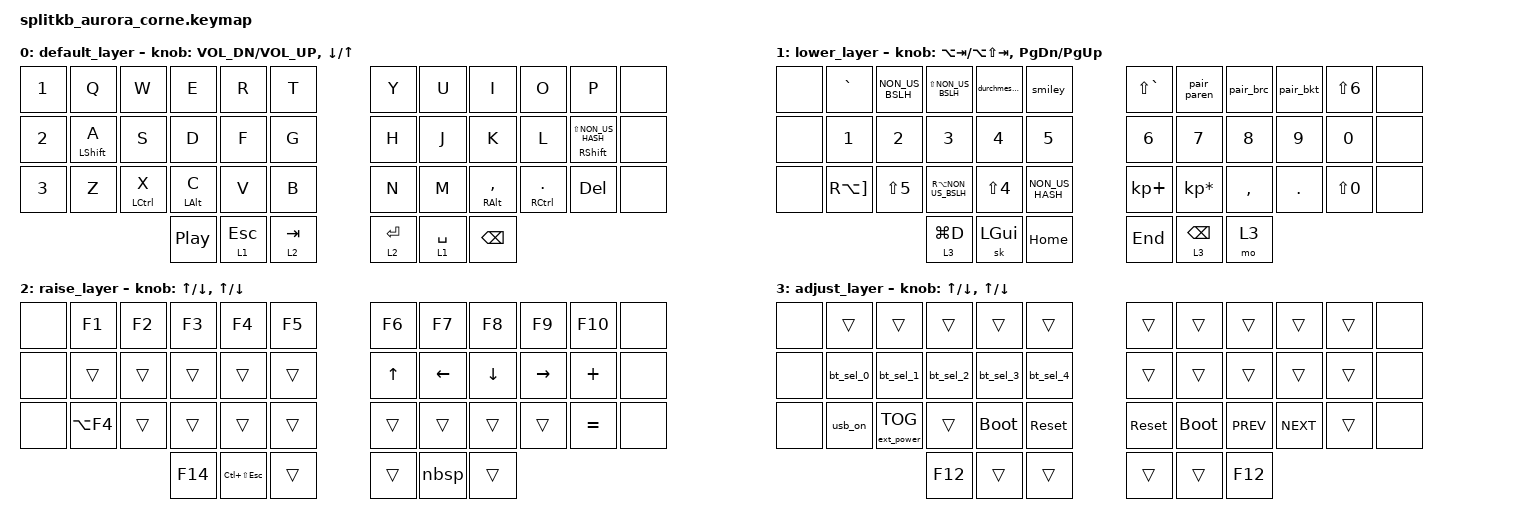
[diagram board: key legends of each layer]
#include <behaviors.dtsi>
#include <dt-bindings/zmk/keys.h>
#include <dt-bindings/zmk/bt.h>
#include <dt-bindings/zmk/ext_power.h>
#include <dt-bindings/zmk/outputs.h>

/*
 * Matrix Key Position References for Combos (42 keys Corne layout):
 *
 * Left Hand:                      Right Hand:
 *  0  1  2  3  4  5                6  7  8  9 10 11
 * 12 13 14 15 16 17               18 19 20 21 22 23
 * 24 25 26 27 28 29               30 31 32 33 34 35
 *          36 37 38               39 40 41
 */

#define LEFT_HAND_KEYS  1  2  3  4  5 13 14 15 16 17 25 26 27 28 29 36 37 38
#define RIGHT_HAND_KEYS 6  7  8  9 10 18 19 20 21 22 30 31 32 33 34 39 40 41

/ {
    macros {
        pair_paren: pair_paren {
            compatible = "zmk,behavior-macro";
            #binding-cells = <0>;
            wait-ms = <10>;
            tap-ms = <10>;
            bindings = <&kp LS(N8)>, <&kp LS(N9)>, <&kp LEFT>;
        };

        pair_brc: pair_brc {
            compatible = "zmk,behavior-macro";
            #binding-cells = <0>;
            wait-ms = <10>;
            tap-ms = <10>;
            bindings = <&kp RA(N7)>, <&kp RA(N0)>, <&kp LEFT>;
        };

        pair_bkt: pair_bkt {
            compatible = "zmk,behavior-macro";
            #binding-cells = <0>;
            wait-ms = <10>;
            tap-ms = <10>;
            bindings = <&kp RA(N8)>, <&kp RA(N9)>, <&kp LEFT>;
        };

        usb_on: usb_on { 
            compatible = "zmk,behavior-macro"; 
            #binding-cells = <0>; 
            bindings = <&out OUT_USB>; 
        };

        bt_sel_0: bt_sel_0 {
            compatible = "zmk,behavior-macro";
            #binding-cells = <0>;
            bindings = <&out OUT_BLE>, <&bt BT_SEL 0>;
        };

        bt_sel_1: bt_sel_1 {
            compatible = "zmk,behavior-macro";
            #binding-cells = <0>;
            bindings = <&out OUT_BLE>, <&bt BT_SEL 1>;
        };

        bt_sel_2: bt_sel_2 {
            compatible = "zmk,behavior-macro";
            #binding-cells = <0>;
            bindings = <&out OUT_BLE>, <&bt BT_SEL 2>;
        };

        bt_sel_3: bt_sel_3 {
            compatible = "zmk,behavior-macro";
            #binding-cells = <0>;
            bindings = <&out OUT_BLE>, <&bt BT_SEL 3>;
        };

        bt_sel_4: bt_sel_4 {
            compatible = "zmk,behavior-macro";
            #binding-cells = <0>;
            bindings = <&out OUT_BLE>, <&bt BT_SEL 4>;
        };

        durchmesser: durchmesser { 
            compatible = "zmk,behavior-macro"; 
            #binding-cells = <0>; 
            bindings = <&macro_press &kp LALT>, <&macro_tap &kp KP_N0 &kp KP_N2 &kp KP_N4 &kp KP_N8>, <&macro_release &kp LALT>; 
        };

        smiley: smiley { 
            compatible = "zmk,behavior-macro";
            #binding-cells = <0>;
            wait-ms = <20>; 
            tap-ms = <20>; 
            bindings = <&macro_press &kp LSHFT>, <&macro_tap &kp COMMA>, <&macro_release &kp LSHFT>, <&macro_tap &kp SLASH>, <&macro_press &kp LSHFT>, <&macro_tap &kp N9>, <&macro_release &kp LSHFT>; 
        };

        nbsp: nbsp { 
            compatible = "zmk,behavior-macro"; 
            #binding-cells = <0>;
            wait-ms = <30>; 
            tap-ms = <30>; 
            bindings = <&macro_press &kp LALT>, <&macro_tap &kp KP_N0 &kp KP_N1 &kp KP_N6 &kp KP_N0>, <&macro_release &kp LALT>; 
        };

        macro_bt_clr: macro_bt_clr {
            compatible = "zmk,behavior-macro";
            #binding-cells = <0>;
            bindings = <&bt BT_CLR>;
        };

        m_pp: m_pp {
            compatible = "zmk,behavior-macro";
            #binding-cells = <0>;
            wait-ms = <0>;
            tap-ms = <10>;
            bindings = <&kp C_PP>; 
        };

        m_next: m_next {
            compatible = "zmk,behavior-macro";
            #binding-cells = <0>;
            bindings = <&kp C_NEXT>;
        };

        m_prev: m_prev {
            compatible = "zmk,behavior-macro";
            #binding-cells = <0>;
            bindings = <&kp C_PREV>;
        };

        m_up: m_up {
            compatible = "zmk,behavior-macro";
            #binding-cells = <0>;
            wait-ms = <0>;
            tap-ms = <0>;
            bindings
                = <&macro_press &kp UP>
                , <&macro_pause_for_release>
                , <&macro_release &kp UP>;
        };

        m_down: m_down {
            compatible = "zmk,behavior-macro";
            #binding-cells = <0>;
            wait-ms = <0>;
            tap-ms = <0>;
            bindings
                = <&macro_press &kp DOWN>
                , <&macro_pause_for_release>
                , <&macro_release &kp DOWN>;
        };
    };

    behaviors {
        lt_enter: lt_enter {
            compatible = "zmk,behavior-hold-tap";
            #binding-cells = <2>;
            tapping-term-ms = <220>;
            quick-tap-ms = <150>;
            flavor = "hold-preferred";
            retro-tap;
            bindings = <&mo>, <&kp>;
        };

        caps_wrd: caps_wrd {
            compatible = "zmk,behavior-caps-word";
            #binding-cells = <0>;
            continue-list = <NON_US_HASH KP_DIVIDE BACKSPACE DEL SLASH SQT SEMI LBKT>;
        };

        hrm_safe: hrm_safe {
            compatible = "zmk,behavior-hold-tap";
            #binding-cells = <2>;
            tapping-term-ms = <280>;
            quick-tap-ms = <175>;
            flavor = "tap-preferred";
            require-prior-idle-ms = <220>;
            bindings = <&kp>, <&kp>;
            hold-trigger-on-release;
        };

        hrm_left: hrm_left {
            compatible = "zmk,behavior-hold-tap";
            #binding-cells = <2>;
            flavor = "tap-preferred";
            tapping-term-ms = <220>;
            require-prior-idle-ms = <150>;
            hold-trigger-key-positions = <RIGHT_HAND_KEYS>;
            hold-trigger-on-release;
            bindings = <&kp>, <&kp>;
        };

        hrm_right: hrm_right {
            compatible = "zmk,behavior-hold-tap";
            #binding-cells = <2>;
            flavor = "tap-preferred";
            tapping-term-ms = <170>;
            require-prior-idle-ms = <80>;
            hold-trigger-key-positions = <LEFT_HAND_KEYS>;
            hold-trigger-on-release;
            bindings = <&kp>, <&kp>;
        };

        lt_hp: lt_hp {
            compatible = "zmk,behavior-hold-tap"; 
            #binding-cells = <2>; 
            tapping-term-ms = <200>; 
            quick-tap-ms = <200>;
            flavor = "balanced";
            retro-tap;
            bindings = <&mo>, <&kp>; 
        };

        enc_bt_clr: enc_bt_clr {
            compatible = "zmk,behavior-hold-tap";
            #binding-cells = <2>; 
            tapping-term-ms = <5000>; 
            flavor = "tap-preferred";
            bindings = <&macro_bt_clr>, <&none>; 
        };
    }; 

    combos {
        compatible = "zmk,combos";

        // 1. SYSTEMATISCHE HRM-COMBOS (35ms)
        combo_caps_word  { timeout-ms = <35>; key-positions = <16 19>; bindings = <&caps_wrd>; layers = <0>; };    // F (16) + J (19)
        combo_quote      { timeout-ms = <35>; key-positions = <15 16>; bindings = <&kp LS(N2)>; layers = <0 1>; }; // D (15) + F (16)
        combo_question   { timeout-ms = <35>; key-positions = <19 20>; bindings = <&kp LS(MINUS)>; layers = <0 1>; }; // J (19) + K (20)
        combo_ue         { timeout-ms = <35>; key-positions = <7 19>;  bindings = <&kp LBKT>; layers = <0>; };     // U (7) + J (19)

        // 2. UNKRITISCHE COMBOS (45-50ms)
        combo_excl       { timeout-ms = <45>; key-positions = <3 15>;  bindings = <&kp LS(N1)>; layers = <0 1>; };  // E (3) + D (15)
        combo_colon      { timeout-ms = <45>; key-positions = <32 33>; bindings = <&kp LS(DOT)>; layers = <0 1>; }; // , (32) + . (33)
        combo_backslash  { timeout-ms = <45>; key-positions = <20 21>; bindings = <&kp RA(MINUS)>; layers = <0 1>; }; // K (20) + L (21)
        combo_slash      { timeout-ms = <45>; key-positions = <14 15>; bindings = <&kp KP_DIVIDE>; layers = <0 1>; }; // S (14) + D (15)
        combo_minus      { timeout-ms = <45>; key-positions = <21 22>; bindings = <&kp SLASH>; layers = <0 1>; }; // L (21) + Ö (22)
        combo_underscore { timeout-ms = <35>; key-positions = <13 14>; bindings = <&kp LS(SLASH)>; layers = <0 1>; }; // A (13) + S (14)
        combo_ae         { timeout-ms = <50>; key-positions = <1 13>;  bindings = <&kp SQT>; layers = <0>; };     // Q (1) + A (13)
        combo_oe         { timeout-ms = <45>; key-positions = <9 21>;  bindings = <&kp SEMI>; layers = <0>; };    // O (9) + L (21)
        combo_ss         { timeout-ms = <45>; key-positions = <2 14>;  bindings = <&kp MINUS>; layers = <0>; };   // W (2) + S (14)

        // 3. HARDWARE-COMBOS (2ms)
        combo_bt0 { timeout-ms = <2>; key-positions = <26 20>; bindings = <&bt_sel_0>; }; // X (26) + G (20)
        combo_bt1 { timeout-ms = <2>; key-positions = <26 14>; bindings = <&bt_sel_1>; }; // X (26) + S (14)
        combo_bt2 { timeout-ms = <2>; key-positions = <26 13>; bindings = <&bt_sel_2>; }; // X (26) + A (13)
        combo_usb { timeout-ms = <2>; key-positions = <26 15>; bindings = <&usb_on>; };   // X (26) + D (15)

        combo_del_last_word {
            timeout-ms = <45>;
            key-positions = <36 41>;
            bindings = <&kp LC(BSPC)>;
            layers = <0>;
        };
    };

    keymap {
        compatible = "zmk,keymap";

        default_layer {
            sensor-bindings = <&inc_dec_kp C_VOL_DN C_VOL_UP>, <&inc_dec_kp DOWN UP>;
            bindings = <
&kp N1  &kp Q              &kp W              &kp E                &kp R       &kp T        &kp Y          &kp U              &kp I                 &kp O                &kp P                              &none
&kp N2  &hrm_left LSHIFT A &kp S              &kp D                &kp F       &kp G        &kp H          &kp J              &kp K                 &kp L                &hrm_right RSHIFT LS(NON_US_HASH)  &none
&kp N3  &kp Z              &hrm_safe LCTRL X  &hrm_safe LALT C     &kp V       &kp B        &kp N          &kp M              &hrm_safe RALT COMMA  &hrm_safe RCTRL DOT  &kp DEL                            &none
                                              &kp C_PP             &lt 1 ESC   &lt 2 TAB    &lt_enter 2 RET &lt_hp 1 SPACE     &kp BSPC
            >;
        };

        lower_layer {
            sensor-bindings = <&inc_dec_kp LA(TAB) LA(LS(TAB))>, <&inc_dec_kp PG_DN PG_UP>;
            bindings = <
&none  &kp GRAVE     &kp NON_US_BSLH  &kp LS(NON_US_BSLH)  &durchmesser  &smiley         &kp LS(GRAVE)  &pair_paren      &pair_brc  &pair_bkt  &kp LS(N6)  &none
&none  &kp N1        &kp N2           &kp N3               &kp N4        &kp N5          &kp N6         &kp N7           &kp N8     &kp N9     &kp N0      &none
&none  &kp RA(RBKT)  &kp LS(N5)       &kp RA(NON_US_BSLH)  &kp LS(N4)    &kp NON_US_HASH &kp KP_PLUS    &kp KP_MULTIPLY  &kp COMMA  &kp DOT    &kp LS(N0)  &none
                                      &lt 3 LG(D)          &sk LGUI      &kp HOME        &kp END        &lt_hp 3 BSPC    &mo 3
            >;
        };

        raise_layer {
            sensor-bindings = <&inc_dec_kp UP DOWN>, <&inc_dec_kp UP DOWN>;
            bindings = <
&none  &kp F1      &kp F2  &kp F3  &kp F4           &kp F5   &kp F6   &kp F7    &kp F8    &kp F9     &kp F10   &none
&none  &trans      &trans  &trans  &trans           &trans   &kp UP   &kp LEFT  &kp DOWN  &kp RIGHT  &kp PLUS  &none
&none  &kp LA(F4)  &trans  &trans  &trans           &trans   &trans   &trans    &trans    &trans     &kp EQUAL &none
                           &kp F14 &kp LC(LS(ESC))  &trans   &trans   &nbsp     &trans
            >;
        };

        adjust_layer {
            sensor-bindings = <&inc_dec_kp UP DOWN>, <&inc_dec_kp UP DOWN>;
            bindings = <
&none  &trans     &trans             &trans     &trans       &trans      &trans      &trans       &trans      &trans      &trans   &none
&none  &bt_sel_0  &bt_sel_1          &bt_sel_2  &bt_sel_3    &bt_sel_4   &trans      &trans       &trans      &trans      &trans   &none
&none  &usb_on    &ext_power EP_TOG  &trans     &bootloader  &sys_reset  &sys_reset  &bootloader  &kp C_PREV  &kp C_NEXT  &trans   &none
                                     &kp F12    &trans       &trans      &trans      &trans       &kp F12
            >;
        };
    };
};
